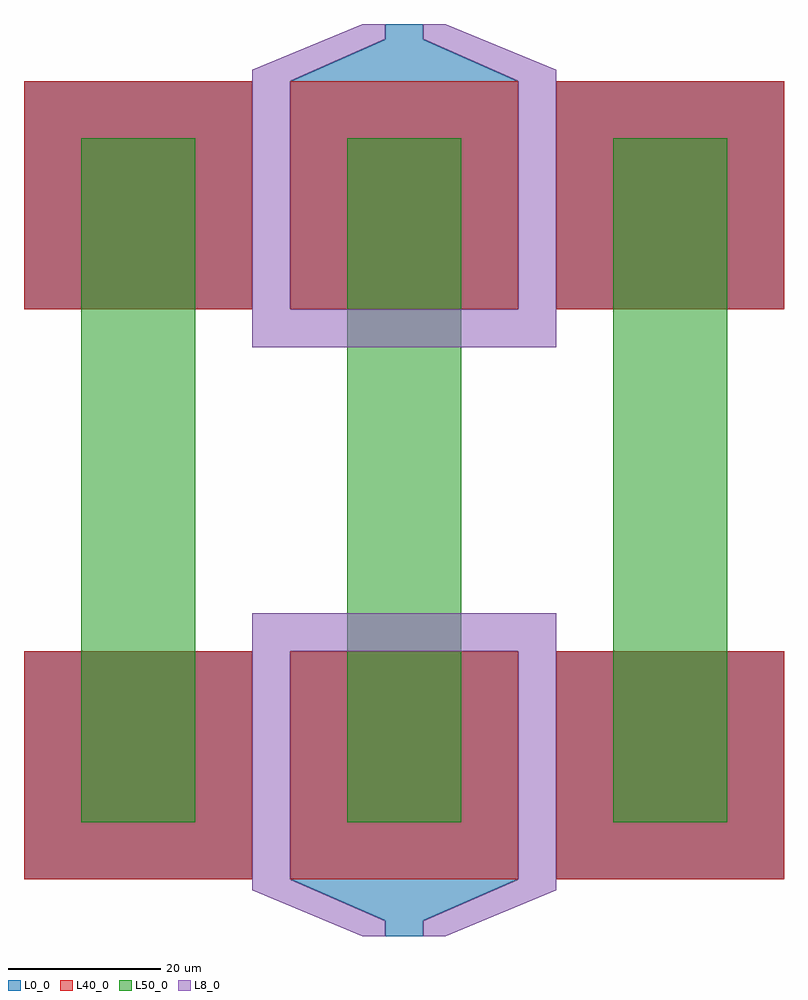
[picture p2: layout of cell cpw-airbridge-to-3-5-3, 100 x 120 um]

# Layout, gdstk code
import gdstk
lib = gdstk.Library(unit=1e-6, precision=1e-09)
def R(c, l, rs):  # rectangles x0, y0, x1, y1
    for r in rs: c.add(gdstk.rectangle(r[:2], r[2:], *l))
def A(c, l, x, y, w, h, nx, ny, dx, dy):  # array of equal rectangles
    R(c, l, [(x+i*dx, y+j*dy, x+i*dx+w, y+j*dy+h) for i in range(nx) for j in range(ny)])
def P(c, l, *ps):  # polygons
    for p in ps: c.add(gdstk.Polygon(p, *l))
L0_0 = (0, 0)
L8_0 = (8, 0)
L40_0 = (40, 0)
L50_0 = (50, 0)

airbridge = lib.new_cell('airbridge')
R(airbridge, L40_0, [(-15,-52.5,15,-22.5), (-15,22.5,15,52.5)])
R(airbridge, L50_0, [(-7.5,-45,7.5,45)])

cpw_airbridge = lib.new_cell('cpw-airbridge')
A(cpw_airbridge, L0_0, -50, -52.5, 30, 30, 3, 2, 35, 75)
cpw_airbridge.add(gdstk.Reference(airbridge, (-35,0)))
cpw_airbridge.add(gdstk.Reference(airbridge, (35,0)))
cpw_airbridge.add(gdstk.Reference(airbridge, (0,0)))

cpw_airbridge_to_3_5_3 = lib.new_cell('cpw-airbridge-to-3-5-3')
P(cpw_airbridge_to_3_5_3, L0_0, [(-2.5,-58),(-2.5,-60),(2.5,-60),(2.5,-58),(15,-52.5),(-15,-52.5)],
  [(-2.5,58),(-15,52.5),(15,52.5),(2.5,58),(2.5,60),(-2.5,60)])
P(cpw_airbridge_to_3_5_3, L8_0, [(20,-17.5),(-20,-17.5),(-20,-54),(-5.5,-60),(-2.5,-60),(-2.5,-58),(-15,-52.5),(-15,-22.5),(15,-22.5),(15,-52.5),(2.5,-58),(2.5,-60),(5.5,-60),(20,-54)],
  [(20,17.5),(20,54),(5.5,60),(2.5,60),(2.5,58),(15,52.5),(15,22.5),(-15,22.5),(-15,52.5),(-2.5,58),(-2.5,60),(-5.5,60),(-20,54),(-20,17.5)])
cpw_airbridge_to_3_5_3.add(gdstk.Reference(cpw_airbridge, (0,0)))

lib.write_gds('cpw-airbridge-to-3-5-3.gds')
